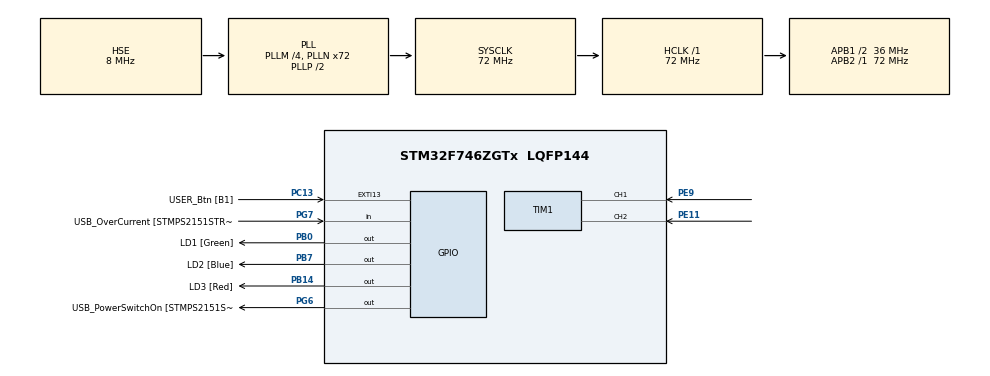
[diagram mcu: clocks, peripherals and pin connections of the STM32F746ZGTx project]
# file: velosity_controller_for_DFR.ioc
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Mcu.Family=STM32F7
Mcu.Name=STM32F746ZGTx
Mcu.Package=LQFP144
NVIC.EXTI15_10_IRQn=true\:0\:0\:false\:false\:true\:true\:true\:true
NVIC.PriorityGroup=NVIC_PRIORITYGROUP_4
NVIC.TIM1_CC_IRQn=true\:0\:0\:false\:false\:true\:true\:true\:true
PA1.GPIO_Label=RMII_REF_CLK [LAN8742A-CZ-TR_REFCLK0]
PA1.Signal=ETH_REF_CLK
PA10.GPIO_Label=USB_ID
PA10.Signal=USB_OTG_FS_ID
PA11.GPIO_Label=USB_DM
PA11.Signal=USB_OTG_FS_DM
PA12.GPIO_Label=USB_DP
PA12.Signal=USB_OTG_FS_DP
PA13.GPIO_Label=TMS
PA13.Mode=Serial_Wire
PA13.Signal=SYS_JTMS-SWDIO
PA14.GPIO_Label=TCK
PA14.Mode=Serial_Wire
PA14.Signal=SYS_JTCK-SWCLK
PA2.GPIO_Label=RMII_MDIO [LAN8742A-CZ-TR_MDIO]
PA2.Signal=ETH_MDIO
PA7.GPIO_Label=RMII_CRS_DV [LAN8742A-CZ-TR_CRS_DV]
PA7.Signal=ETH_CRS_DV
PA8.GPIO_Label=USB_SOF [TP1]
PA8.Signal=USB_OTG_FS_SOF
PA9.GPIO_Label=USB_VBUS
PA9.Signal=USB_OTG_FS_VBUS
PB0.GPIO_Label=LD1 [Green]
PB0.Signal=GPIO_Output
PB13.GPIO_Label=RMII_TXD1 [LAN8742A-CZ-TR_TXD1]
PB13.Signal=ETH_TXD1
PB14.GPIO_Label=LD3 [Red]
PB14.Signal=GPIO_Output
PB3.GPIO_Label=SW0
PB3.Signal=SYS_JTDO-SWO
PB7.GPIO_Label=LD2 [Blue]
PB7.Signal=GPIO_Output
PC1.GPIO_Label=RMII_MDC [LAN8742A-CZ-TR_MDC]
PC1.Signal=ETH_MDC
PC13.GPIO_Label=USER_Btn [B1]
PC13.Signal=GPXTI13
PC14/OSC32_IN.Signal=RCC_OSC32_IN
PC15/OSC32_OUT.Signal=RCC_OSC32_OUT
PC4.GPIO_Label=RMII_RXD0 [LAN8742A-CZ-TR_RXD0]
PC4.Signal=ETH_RXD0
PC5.GPIO_Label=RMII_RXD1 [LAN8742A-CZ-TR_RXD1]
PC5.Signal=ETH_RXD1
PD8.GPIO_Label=STLK_RX [STM32F103CBT6_PA3]
PD8.Signal=USART3_TX
PD9.GPIO_Label=STLK_TX [STM32F103CBT6_PA2]
PD9.Signal=USART3_RX
PE11.Signal=S_TIM1_CH2
PE9.Signal=S_TIM1_CH1
PG11.GPIO_Label=RMII_TX_EN [LAN8742A-CZ-TR_TXEN]
PG11.Signal=ETH_TX_EN
PG13.GPIO_Label=RMII_TXD0 [LAN8742A-CZ-TR_TXD0]
PG13.Signal=ETH_TXD0
PG6.GPIO_Label=USB_PowerSwitchOn [STMPS2151STR_EN]
PG6.Signal=GPIO_Output
PG7.GPIO_Label=USB_OverCurrent [STMPS2151STR_FAULT]
PG7.Signal=GPIO_Input
PH0/OSC_IN.GPIO_Label=MCO [STM32F103CBT6_PA8]
PH0/OSC_IN.Mode=HSE-External-Oscillator
PH0/OSC_IN.Signal=RCC_OSC_IN
PH1/OSC_OUT.Mode=HSE-External-Oscillator
PH1/OSC_OUT.Signal=RCC_OSC_OUT
ProjectManager.HeapSize=0x200
ProjectManager.StackSize=0x400
ProjectManager.TargetToolchain=STM32CubeIDE
RCC.48MHZClocksFreq_Value=24000000
RCC.AHBFreq_Value=72000000
RCC.APB1CLKDivider=RCC_HCLK_DIV2
RCC.APB1Freq_Value=36000000
RCC.APB1TimFreq_Value=72000000
RCC.APB2Freq_Value=72000000
RCC.APB2TimFreq_Value=72000000
RCC.CortexFreq_Value=72000000
RCC.HCLKFreq_Value=72000000
RCC.HSE_VALUE=8000000
RCC.HSI_VALUE=16000000
RCC.LSE_VALUE=32768
RCC.PLLM=4
RCC.PLLMUL=RCC_PLL_MUL9
RCC.PLLN=72
RCC.PLLSourceVirtual=RCC_PLLSOURCE_HSE
RCC.PRESCALERUSB=RCC_USBCLKSOURCE_PLL_DIV1_5
RCC.SYSCLKFreq_VALUE=72000000
RCC.SYSCLKSource=RCC_SYSCLKSOURCE_PLLCLK
RCC.SYSCLKSourceVirtual=RCC_SYSCLKSOURCE_PLLCLK
RCC.USBFreq_Value=72000000
RCC.VCOOutputFreq_Value=144000000
SH.S_TIM1_CH1.0=TIM1_CH1,Encoder_Interface
SH.S_TIM1_CH2.0=TIM1_CH2,Encoder_Interface
TIM1.EncoderMode=TIM_ENCODERMODE_TI12
TIM1.IC1Polarity=TIM_ICPOLARITY_FALLING
TIM1.IC2Polarity=TIM_ICPOLARITY_FALLING
board=NUCLEO-F746ZG

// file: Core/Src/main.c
/* USER CODE BEGIN Header */
/**
 ******************************************************************************
 * @file           : main.c
 * @brief          : Main program body
 ******************************************************************************
 * @attention
 *
 * Copyright (c) 2024 STMicroelectronics.
 * All rights reserved.
 *
 * This software is licensed under terms that can be found in the LICENSE file
 * in the root directory of this software component.
 * If no LICENSE file comes with this software, it is provided AS-IS.
 *
 ******************************************************************************
 */
/* USER CODE END Header */
#include "main.h"

/* USER CODE BEGIN Includes */
#include "stdio.h"
#include "motor_encoder.h"
#include "moving_average_int16.h"
#include "motor.h"
#include <stdint.h>
#include "DFR_i2c.h"
/* USER CODE END Includes */

TIM_HandleTypeDef htim1;

/* USER CODE BEGIN PV */
DFRobot_GP8XXX_IIC gp8211s;

/* Define instances for motor control */
encoder_instance enc_instance_M1;
pid_instance_int16 pid_instance_M1;
/* USER CODE END PV */

void SystemClock_Config(void);
static void MX_GPIO_Init(void);
static void MX_TIM1_Init(void);

/* USER CODE BEGIN 0 */

float PPR = 1000.0;       // Pulses per revolution
float gear_ratio = 1.0; // Gear ratio
float motor1_vel;       // Motor velocity
float RPM_k;            // RPM constant

float set = 1500; // Set velocity

/* USER CODE END 0 */

int main(void)
{

  /* MCU Configuration--------------------------------------------------------*/

  /* Reset of all peripherals, Initializes the Flash interface and the Systick. */
  HAL_Init();

  /* Configure the system clock */
  SystemClock_Config();

  /* Initialize all configured peripherals */
  MX_GPIO_Init();
  MX_TIM1_Init();
  /* USER CODE BEGIN 2 */

	HAL_TIM_Encoder_Start_IT(&htim1, TIM_CHANNEL_ALL);

	init_encoder(&enc_instance_M1);

	set_pid_gain(&pid_instance_M1, 5, 0.5, 0.0); // set gains

	RPM_k = (float) 60.0 / (PPR * gear_ratio); // to calculate RPM form ticks/s

	GP8XXX_IIC_begin(&gp8211s, GP8211S_identifier, 0x58, GPIOB, GPIO_PIN_8,
	GPIOB, GPIO_PIN_9);

	GP8XXX_IIC_setDACOutRange(&gp8211s, eOutputRange10V); // 5V or 10V

  /* USER CODE END 2 */

  /* Infinite loop */
	while (1) {

	}
}

void SystemClock_Config(void)
{
  RCC_OscInitTypeDef RCC_OscInitStruct = {0};
  RCC_ClkInitTypeDef RCC_ClkInitStruct = {0};

  /** Configure the main internal regulator output voltage
  */
  __HAL_RCC_PWR_CLK_ENABLE();
  __HAL_PWR_VOLTAGESCALING_CONFIG(PWR_REGULATOR_VOLTAGE_SCALE3);

  /** Initializes the RCC Oscillators according to the specified parameters
  * in the RCC_OscInitTypeDef structure.
  */
  RCC_OscInitStruct.OscillatorType = RCC_OSCILLATORTYPE_HSE;
  RCC_OscInitStruct.HSEState = RCC_HSE_ON;
  RCC_OscInitStruct.PLL.PLLState = RCC_PLL_ON;
  RCC_OscInitStruct.PLL.PLLSource = RCC_PLLSOURCE_HSE;
  RCC_OscInitStruct.PLL.PLLM = 4;
  RCC_OscInitStruct.PLL.PLLN = 72;
  RCC_OscInitStruct.PLL.PLLP = RCC_PLLP_DIV2;
  RCC_OscInitStruct.PLL.PLLQ = 2;
  if (HAL_RCC_OscConfig(&RCC_OscInitStruct) != HAL_OK)
  {
    Error_Handler();
  }

  /** Initializes the CPU, AHB and APB buses clocks
  */
  RCC_ClkInitStruct.ClockType = RCC_CLOCKTYPE_HCLK|RCC_CLOCKTYPE_SYSCLK
                              |RCC_CLOCKTYPE_PCLK1|RCC_CLOCKTYPE_PCLK2;
  RCC_ClkInitStruct.SYSCLKSource = RCC_SYSCLKSOURCE_PLLCLK;
  RCC_ClkInitStruct.AHBCLKDivider = RCC_SYSCLK_DIV1;
  RCC_ClkInitStruct.APB1CLKDivider = RCC_HCLK_DIV2;
  RCC_ClkInitStruct.APB2CLKDivider = RCC_HCLK_DIV1;

  if (HAL_RCC_ClockConfig(&RCC_ClkInitStruct, FLASH_LATENCY_2) != HAL_OK)
  {
    Error_Handler();
  }
}

static void MX_TIM1_Init(void)
{

  TIM_Encoder_InitTypeDef sConfig = {0};
  TIM_MasterConfigTypeDef sMasterConfig = {0};

  htim1.Instance = TIM1;
  htim1.Init.Prescaler = 0;
  htim1.Init.CounterMode = TIM_COUNTERMODE_UP;
  htim1.Init.Period = 65535;
  htim1.Init.ClockDivision = TIM_CLOCKDIVISION_DIV1;
  htim1.Init.RepetitionCounter = 0;
  htim1.Init.AutoReloadPreload = TIM_AUTORELOAD_PRELOAD_DISABLE;
  sConfig.EncoderMode = TIM_ENCODERMODE_TI12;
  sConfig.IC1Polarity = TIM_ICPOLARITY_FALLING;
  sConfig.IC1Selection = TIM_ICSELECTION_DIRECTTI;
  sConfig.IC1Prescaler = TIM_ICPSC_DIV1;
  sConfig.IC1Filter = 0;
  sConfig.IC2Polarity = TIM_ICPOLARITY_FALLING;
  sConfig.IC2Selection = TIM_ICSELECTION_DIRECTTI;
  sConfig.IC2Prescaler = TIM_ICPSC_DIV1;
  sConfig.IC2Filter = 0;
  if (HAL_TIM_Encoder_Init(&htim1, &sConfig) != HAL_OK)
  {
    Error_Handler();
  }
  sMasterConfig.MasterOutputTrigger = TIM_TRGO_RESET;
  sMasterConfig.MasterOutputTrigger2 = TIM_TRGO2_RESET;
  sMasterConfig.MasterSlaveMode = TIM_MASTERSLAVEMODE_DISABLE;
  if (HAL_TIMEx_MasterConfigSynchronization(&htim1, &sMasterConfig) != HAL_OK)
  {
    Error_Handler();
  }

}

static void MX_GPIO_Init(void)
{
  GPIO_InitTypeDef GPIO_InitStruct = {0};

  /* GPIO Ports Clock Enable */
  __HAL_RCC_GPIOC_CLK_ENABLE();
  __HAL_RCC_GPIOH_CLK_ENABLE();
  __HAL_RCC_GPIOA_CLK_ENABLE();
  __HAL_RCC_GPIOB_CLK_ENABLE();
  __HAL_RCC_GPIOE_CLK_ENABLE();
  __HAL_RCC_GPIOD_CLK_ENABLE();
  __HAL_RCC_GPIOG_CLK_ENABLE();

  /*Configure GPIO pin Output Level */
  HAL_GPIO_WritePin(GPIOB, LD1_Pin|LD3_Pin|LD2_Pin, GPIO_PIN_RESET);

  /*Configure GPIO pin Output Level */
  HAL_GPIO_WritePin(USB_PowerSwitchOn_GPIO_Port, USB_PowerSwitchOn_Pin, GPIO_PIN_RESET);

  /*Configure GPIO pin : USER_Btn_Pin */
  GPIO_InitStruct.Pin = USER_Btn_Pin;
  GPIO_InitStruct.Mode = GPIO_MODE_IT_RISING;
  GPIO_InitStruct.Pull = GPIO_NOPULL;
  HAL_GPIO_Init(USER_Btn_GPIO_Port, &GPIO_InitStruct);

  /*Configure GPIO pins : RMII_MDC_Pin RMII_RXD0_Pin RMII_RXD1_Pin */
  GPIO_InitStruct.Pin = RMII_MDC_Pin|RMII_RXD0_Pin|RMII_RXD1_Pin;
  GPIO_InitStruct.Mode = GPIO_MODE_AF_PP;
  GPIO_InitStruct.Pull = GPIO_NOPULL;
  GPIO_InitStruct.Speed = GPIO_SPEED_FREQ_VERY_HIGH;
  GPIO_InitStruct.Alternate = GPIO_AF11_ETH;
  HAL_GPIO_Init(GPIOC, &GPIO_InitStruct);

  /*Configure GPIO pins : RMII_REF_CLK_Pin RMII_MDIO_Pin RMII_CRS_DV_Pin */
  GPIO_InitStruct.Pin = RMII_REF_CLK_Pin|RMII_MDIO_Pin|RMII_CRS_DV_Pin;
  GPIO_InitStruct.Mode = GPIO_MODE_AF_PP;
  GPIO_InitStruct.Pull = GPIO_NOPULL;
  GPIO_InitStruct.Speed = GPIO_SPEED_FREQ_VERY_HIGH;
  GPIO_InitStruct.Alternate = GPIO_AF11_ETH;
  HAL_GPIO_Init(GPIOA, &GPIO_InitStruct);

  /*Configure GPIO pins : LD1_Pin LD3_Pin LD2_Pin */
  GPIO_InitStruct.Pin = LD1_Pin|LD3_Pin|LD2_Pin;
  GPIO_InitStruct.Mode = GPIO_MODE_OUTPUT_PP;
  GPIO_InitStruct.Pull = GPIO_NOPULL;
  GPIO_InitStruct.Speed = GPIO_SPEED_FREQ_LOW;
  HAL_GPIO_Init(GPIOB, &GPIO_InitStruct);

  /*Configure GPIO pin : RMII_TXD1_Pin */
  GPIO_InitStruct.Pin = RMII_TXD1_Pin;
  GPIO_InitStruct.Mode = GPIO_MODE_AF_PP;
  GPIO_InitStruct.Pull = GPIO_NOPULL;
  GPIO_InitStruct.Speed = GPIO_SPEED_FREQ_VERY_HIGH;
  GPIO_InitStruct.Alternate = GPIO_AF11_ETH;
  HAL_GPIO_Init(RMII_TXD1_GPIO_Port, &GPIO_InitStruct);

  /*Configure GPIO pins : STLK_RX_Pin STLK_TX_Pin */
  GPIO_InitStruct.Pin = STLK_RX_Pin|STLK_TX_Pin;
  GPIO_InitStruct.Mode = GPIO_MODE_AF_PP;
  GPIO_InitStruct.Pull = GPIO_NOPULL;
  GPIO_InitStruct.Speed = GPIO_SPEED_FREQ_VERY_HIGH;
  GPIO_InitStruct.Alternate = GPIO_AF7_USART3;
  HAL_GPIO_Init(GPIOD, &GPIO_InitStruct);

  /*Configure GPIO pin : USB_PowerSwitchOn_Pin */
  GPIO_InitStruct.Pin = USB_PowerSwitchOn_Pin;
  GPIO_InitStruct.Mode = GPIO_MODE_OUTPUT_PP;
  GPIO_InitStruct.Pull = GPIO_NOPULL;
  GPIO_InitStruct.Speed = GPIO_SPEED_FREQ_LOW;
  HAL_GPIO_Init(USB_PowerSwitchOn_GPIO_Port, &GPIO_InitStruct);

  /*Configure GPIO pin : USB_OverCurrent_Pin */
  GPIO_InitStruct.Pin = USB_OverCurrent_Pin;
  GPIO_InitStruct.Mode = GPIO_MODE_INPUT;
  GPIO_InitStruct.Pull = GPIO_NOPULL;
  HAL_GPIO_Init(USB_OverCurrent_GPIO_Port, &GPIO_InitStruct);

  /*Configure GPIO pins : USB_SOF_Pin USB_ID_Pin USB_DM_Pin USB_DP_Pin */
  GPIO_InitStruct.Pin = USB_SOF_Pin|USB_ID_Pin|USB_DM_Pin|USB_DP_Pin;
  GPIO_InitStruct.Mode = GPIO_MODE_AF_PP;
  GPIO_InitStruct.Pull = GPIO_NOPULL;
  GPIO_InitStruct.Speed = GPIO_SPEED_FREQ_VERY_HIGH;
  GPIO_InitStruct.Alternate = GPIO_AF10_OTG_FS;
  HAL_GPIO_Init(GPIOA, &GPIO_InitStruct);

  /*Configure GPIO pin : USB_VBUS_Pin */
  GPIO_InitStruct.Pin = USB_VBUS_Pin;
  GPIO_InitStruct.Mode = GPIO_MODE_INPUT;
  GPIO_InitStruct.Pull = GPIO_NOPULL;
  HAL_GPIO_Init(USB_VBUS_GPIO_Port, &GPIO_InitStruct);

  /*Configure GPIO pins : RMII_TX_EN_Pin RMII_TXD0_Pin */
  GPIO_InitStruct.Pin = RMII_TX_EN_Pin|RMII_TXD0_Pin;
  GPIO_InitStruct.Mode = GPIO_MODE_AF_PP;
  GPIO_InitStruct.Pull = GPIO_NOPULL;
  GPIO_InitStruct.Speed = GPIO_SPEED_FREQ_VERY_HIGH;
  GPIO_InitStruct.Alternate = GPIO_AF11_ETH;
  HAL_GPIO_Init(GPIOG, &GPIO_InitStruct);

  /* EXTI interrupt init*/
  HAL_NVIC_SetPriority(EXTI15_10_IRQn, 0, 0);
  HAL_NVIC_EnableIRQ(EXTI15_10_IRQn);

}

void Error_Handler(void)
{
	__disable_irq();
	while (1) {
	}
}
